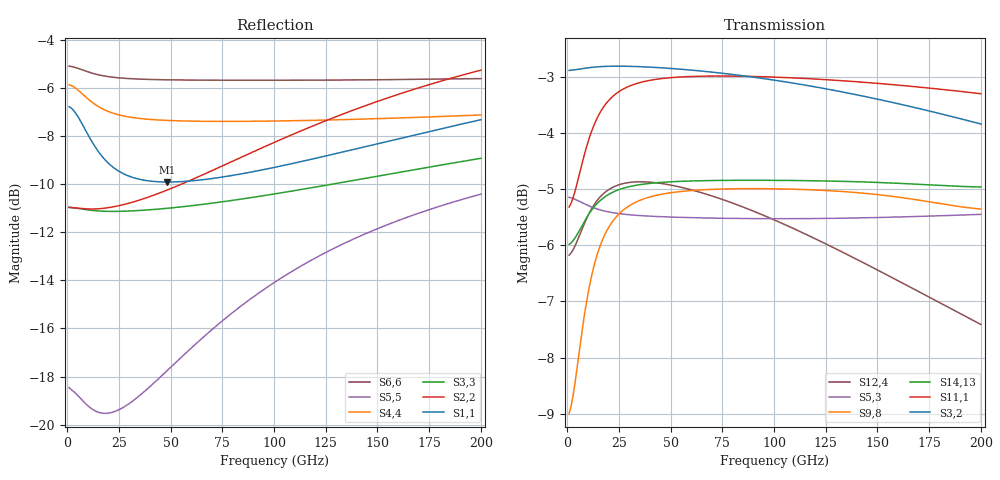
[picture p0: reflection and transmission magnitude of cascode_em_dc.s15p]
! Created with skrf 2.2.0 (http://scikit-rf.org).
!freq dBS11 angS11 dBS12 angS12 dBS13 angS13
! dBS14 angS14 dBS15 angS15 dBS16 angS16 dBS17 angS17
! dBS18 angS18 dBS19 angS19 dBS110 angS110 dBS111 angS111
! dBS112 angS112 dBS113 angS113 dBS114 angS114 dBS115 angS115
! dBS21 angS21 dBS22 angS22 dBS23 angS23
! dBS24 angS24 dBS25 angS25 dBS26 angS26 dBS27 angS27
! dBS28 angS28 dBS29 angS29 dBS210 angS210 dBS211 angS211
! dBS212 angS212 dBS213 angS213 dBS214 angS214 dBS215 angS215
! dBS31 angS31 dBS32 angS32 dBS33 angS33
! dBS34 angS34 dBS35 angS35 dBS36 angS36 dBS37 angS37
! dBS38 angS38 dBS39 angS39 dBS310 angS310 dBS311 angS311
! dBS312 angS312 dBS313 angS313 dBS314 angS314 dBS315 angS315
! dBS41 angS41 dBS42 angS42 dBS43 angS43
! dBS44 angS44 dBS45 angS45 dBS46 angS46 dBS47 angS47
! dBS48 angS48 dBS49 angS49 dBS410 angS410 dBS411 angS411
! dBS412 angS412 dBS413 angS413 dBS414 angS414 dBS415 angS415
! dBS51 angS51 dBS52 angS52 dBS53 angS53
! dBS54 angS54 dBS55 angS55 dBS56 angS56 dBS57 angS57
! dBS58 angS58 dBS59 angS59 dBS510 angS510 dBS511 angS511
! dBS512 angS512 dBS513 angS513 dBS514 angS514 dBS515 angS515
! dBS61 angS61 dBS62 angS62 dBS63 angS63
! dBS64 angS64 dBS65 angS65 dBS66 angS66 dBS67 angS67
! dBS68 angS68 dBS69 angS69 dBS610 angS610 dBS611 angS611
! dBS612 angS612 dBS613 angS613 dBS614 angS614 dBS615 angS615
! dBS71 angS71 dBS72 angS72 dBS73 angS73
! dBS74 angS74 dBS75 angS75 dBS76 angS76 dBS77 angS77
! dBS78 angS78 dBS79 angS79 dBS710 angS710 dBS711 angS711
! dBS712 angS712 dBS713 angS713 dBS714 angS714 dBS715 angS715
! dBS81 angS81 dBS82 angS82 dBS83 angS83
! dBS84 angS84 dBS85 angS85 dBS86 angS86 dBS87 angS87
! dBS88 angS88 dBS89 angS89 dBS810 angS810 dBS811 angS811
! dBS812 angS812 dBS813 angS813 dBS814 angS814 dBS815 angS815
! dBS91 angS91 dBS92 angS92 dBS93 angS93
! dBS94 angS94 dBS95 angS95 dBS96 angS96 dBS97 angS97
! dBS98 angS98 dBS99 angS99 dBS910 angS910 dBS911 angS911
! dBS912 angS912 dBS913 angS913 dBS914 angS914 dBS915 angS915
! dBS101 angS101 dBS102 angS102 dBS103 angS103
! dBS104 angS104 dBS105 angS105 dBS106 angS106 dBS107 angS107
! dBS108 angS108 dBS109 angS109 dBS1010 angS1010 dBS1011 angS1011
! dBS1012 angS1012 dBS1013 angS1013 dBS1014 angS1014 dBS1015 angS1015
! dBS111 angS111 dBS112 angS112 dBS113 angS113
! dBS114 angS114 dBS115 angS115 dBS116 angS116 dBS117 angS117
! dBS118 angS118 dBS119 angS119 dBS1110 angS1110 dBS1111 angS1111
! dBS1112 angS1112 dBS1113 angS1113 dBS1114 angS1114 dBS1115 angS1115
! dBS121 angS121 dBS122 angS122 dBS123 angS123
! dBS124 angS124 dBS125 angS125 dBS126 angS126 dBS127 angS127
! dBS128 angS128 dBS129 angS129 dBS1210 angS1210 dBS1211 angS1211
! dBS1212 angS1212 dBS1213 angS1213 dBS1214 angS1214 dBS1215 angS1215
! dBS131 angS131 dBS132 angS132 dBS133 angS133
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# GHz S DB R 50.0
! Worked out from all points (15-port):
!   202 points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, 990.1 MHz to 200 GHz, reference 50 ohm
!   strongest paths, dB at 990.1 MHz, 50.5 GHz, 101 GHz, 150.5 GHz, 200 GHz:
!     S3,2: -2.9, -2.9, -3.1, -3.4, -3.8
!     S11,1: -5.3, -3.0, -3.0, -3.1, -3.3
!     S14,13: -6.0, -4.9, -4.8, -4.9, -5.0
!     S9,8: -9.0, -5.1, -5.0, -5.1, -5.4
!     S5,3: -5.1, -5.5, -5.5, -5.5, -5.5
!     S12,4: -6.2, -4.9, -5.6, -6.4, -7.4
!   lowest |S11| = -9.9 dB at 48.51 GHz (marker M1), VSWR 1.94, Z = 79.1 - j30.8 ohm
!   |S11| at or under -10 dB: nowhere
